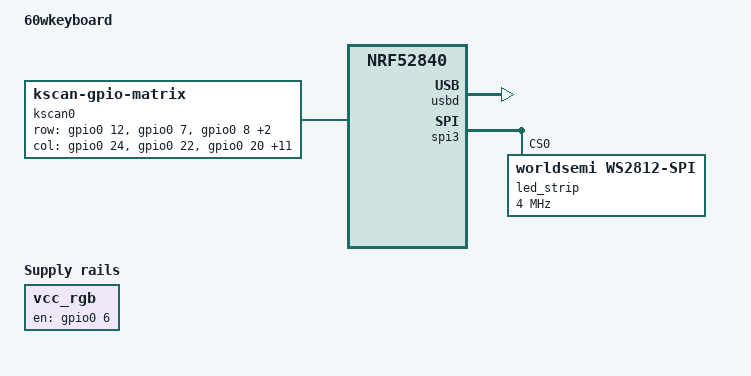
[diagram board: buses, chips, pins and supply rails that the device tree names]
/dts-v1/;
#include <nordic/nrf52840_qiaa.dtsi>
#include <dt-bindings/zmk/matrix_transform.h>
#include <dt-bindings/led/led.h>
#include "60wkeyboard-pinctrl.dtsi"

/ {
    model = "60wkeyboard";
    compatible = "zmk,60wkeyboard"; // Added 'zmk,' prefix to fix regex error

    chosen {
        zmk,kscan = &kscan0;
        zmk,keymap = &keymap0;
        zmk,underglow = &led_strip;
    };

    kscan0: kscan {
        compatible = "zmk,kscan-gpio-matrix";
        diode-direction = "col2row";

        row-gpios
            = <&gpio0 12 (GPIO_ACTIVE_HIGH | GPIO_PULL_DOWN)> // ROW_0 (P0.12)
            , <&gpio0  7 (GPIO_ACTIVE_HIGH | GPIO_PULL_DOWN)> // ROW_1 (P0.07)
            , <&gpio0  8 (GPIO_ACTIVE_HIGH | GPIO_PULL_DOWN)> // ROW_2 (P0.08)
            , <&gpio1  9 (GPIO_ACTIVE_HIGH | GPIO_PULL_DOWN)> // ROW_3 (P1.09)
            , <&gpio0 11 (GPIO_ACTIVE_HIGH | GPIO_PULL_DOWN)> // ROW_4 (P0.11)
            ;

        col-gpios
            = <&gpio0 24 GPIO_ACTIVE_HIGH> // COL_0  (P0.24)
            , <&gpio0 22 GPIO_ACTIVE_HIGH> // COL_1  (P0.22)
            , <&gpio0 20 GPIO_ACTIVE_HIGH> // COL_2  (P0.20)
            , <&gpio0 17 GPIO_ACTIVE_HIGH> // COL_3  (P0.17)
            , <&gpio0 16 GPIO_ACTIVE_HIGH> // COL_4  (P0.16)
            , <&gpio0 14 GPIO_ACTIVE_HIGH> // COL_5  (P0.14)
            , <&gpio0 25 GPIO_ACTIVE_HIGH> // COL_6  (P0.25)
            , <&gpio0 13 GPIO_ACTIVE_HIGH> // COL_7  (P0.13)
            , <&gpio0 15 GPIO_ACTIVE_HIGH> // COL_8  (P0.15)
            , <&gpio0 19 GPIO_ACTIVE_HIGH> // COL_9  (P0.19)
            , <&gpio0 21 GPIO_ACTIVE_HIGH> // COL_10 (P0.21)
            , <&gpio0 23 GPIO_ACTIVE_HIGH> // COL_11 (P0.23)
            , <&gpio0 20 GPIO_ACTIVE_HIGH> // COL_12 (P0.20)
            , <&gpio1  0 GPIO_ACTIVE_HIGH> // COL_13 (P1.00)
            ;
    };

    vcc_rgb: vcc_rgb_en {
        compatible = "regulator-fixed";
        regulator-name = "vcc_rgb_en";
        enable-gpios = <&gpio0 6 GPIO_ACTIVE_HIGH>; // RGB_POWER (P0.06)
        regulator-always-on;
    };
};

&gpio0 { status = "okay"; };
&gpio1 { status = "okay"; };

&usbd {
    status = "okay";
    cdc_acm_uart: cdc_acm_uart {
        compatible = "zephyr,cdc-acm-uart";
    };
};

&spi3 {
    compatible = "nordic,nrf-spim";
    status = "okay";
    pinctrl-0 = <&spi3_default>;
    pinctrl-1 = <&spi3_sleep>;
    pinctrl-names = "default", "sleep";

    led_strip: ws2812@0 {
        compatible = "worldsemi,ws2812-spi";
        reg = <0>;
        spi-max-frequency = <4000000>;
        chain-length = <61>;
        spi-one-frame = <0x70>;
        spi-zero-frame = <0x40>;
        color-mapping = <LED_COLOR_ID_GREEN LED_COLOR_ID_RED LED_COLOR_ID_BLUE>;
    };
};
